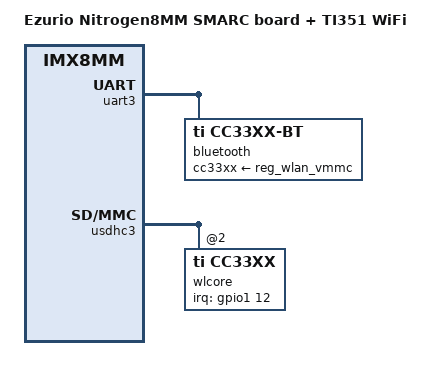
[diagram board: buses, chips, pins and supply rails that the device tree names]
// SPDX-License-Identifier: (GPL-2.0+ OR MIT)
/*
 * Copyright 2025 Ezurio LLC
 */

#include "imx8mm-nitrogen_smarc.dts"

/ {
	model = "Ezurio Nitrogen8MM SMARC board + TI351 WiFi";
	compatible = "ezurio,imx8mm-nitrogen_smarc-ti351", "fsl,imx8mm";
};

&uart3 {
	bluetooth {
		compatible = "ti,cc33xx-bt";
		cc33xx-supply = <&reg_wlan_vmmc>;
		max-speed = <115200>;
	};
};

&usdhc3 { /* WiFi / Bluetooth */
	max-frequency = <50000000>;
	cap-power-off-card;

	/delete-node/ wifi@1 ;

	wlcore: wlcore@2 {
		compatible = "ti,cc33xx";
		/* To use in-band SDIO interrupts remove the following line */
		interrupts-extended = <&gpio1 12 IRQ_TYPE_EDGE_RISING>; /* SDIO_WAKE# */
		reg = <2>;
	};
};

&iomuxc {
	pinctrl_usdhc3: usdhc3grp {
		fsl,pins = <
			MX8MM_IOMUXC_NAND_WE_B_USDHC3_CLK	0x10
			MX8MM_IOMUXC_NAND_WP_B_USDHC3_CMD	0x150
			MX8MM_IOMUXC_NAND_DATA04_USDHC3_DATA0	0x150
			MX8MM_IOMUXC_NAND_DATA05_USDHC3_DATA1	0x150
			MX8MM_IOMUXC_NAND_DATA06_USDHC3_DATA2	0x150
			MX8MM_IOMUXC_NAND_DATA07_USDHC3_DATA3	0x150
			MX8MM_IOMUXC_NAND_READY_B_SD3_RESET_B	0x150
			MX8MM_IOMUXC_GPIO1_IO12_GPIO1_IO12	0x180	/* SDIO_WAKE */

		>;
	};
};
